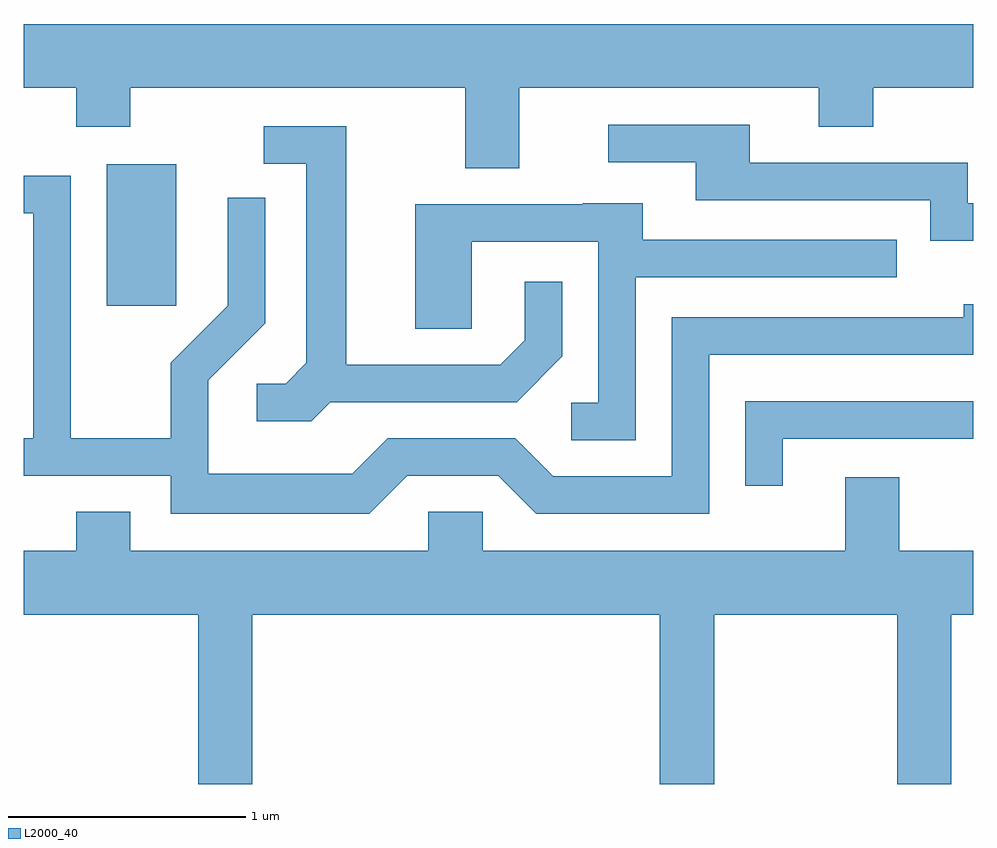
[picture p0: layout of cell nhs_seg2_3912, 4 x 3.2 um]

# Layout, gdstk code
import gdstk
lib = gdstk.Library(unit=1e-6, precision=1e-09)
def R(c, l, rs):  # rectangles x0, y0, x1, y1
    for r in rs: c.add(gdstk.rectangle(r[:2], r[2:], *l))
def P(c, l, *ps):  # polygons
    for p in ps: c.add(gdstk.Polygon(p, *l))
L2000_40 = (2000, 40)

nhs_seg2_3912 = lib.new_cell('nhs_seg2_3912')
R(nhs_seg2_3912, L2000_40, [(299.961,1071.816,300.254,1072.414)])
P(nhs_seg2_3912, L2000_40, [(301.699,1072.736),(302.961,1072.736),(302.961,1072.571),(303.189,1072.571),(303.189,1072.736),(303.611,1072.736),(303.611,1073.004),(299.611,1073.004),(299.611,1072.736),(299.831,1072.736),(299.831,1072.571),(300.059,1072.571),(300.059,1072.736),(301.471,1072.736),(301.471,1072.396),(301.699,1072.396)],
  [(303.611,1072.249),(303.589,1072.249),(303.589,1072.419),(302.669,1072.419),(302.669,1072.579),(302.073,1072.579),(302.073,1072.421),(302.441,1072.421),(302.441,1072.261),(303.431,1072.261),(303.431,1072.091),(303.611,1072.091)],
  [(300.902,1071.411),(301.687,1071.411),(301.879,1071.604),(301.879,1071.918),(301.721,1071.918),(301.721,1071.672),(301.619,1071.569),(300.969,1071.569),(300.969,1072.574),(300.623,1072.574),(300.623,1072.416),(300.801,1072.416),(300.801,1071.577),(300.714,1071.489),(300.593,1071.489),(300.593,1071.331),(300.822,1071.331)],
  [(301.227,1071.101),(301.609,1071.101),(301.769,1070.941),(302.499,1070.941),(302.499,1071.611),(303.611,1071.611),(303.611,1071.824),(303.571,1071.824),(303.571,1071.769),(302.341,1071.769),(302.341,1071.099),(301.842,1071.099),(301.682,1071.259),(301.144,1071.259),(300.994,1071.109),(300.389,1071.109),(300.389,1071.504),(300.629,1071.744),(300.629,1072.273),(300.471,1072.273),(300.471,1071.817),(300.231,1071.577),(300.231,1071.259),(299.809,1071.259),(299.809,1072.364),(299.611,1072.364),(299.611,1072.206),(299.651,1072.206),(299.651,1071.259),(299.611,1071.259),(299.611,1071.101),(300.231,1071.101),(300.231,1070.941),(301.067,1070.941)],
  [(302.189,1071.936),(303.288,1071.936),(303.288,1072.094),(302.219,1072.094),(302.219,1072.249),(301.965,1072.249),(301.965,1072.244),(301.261,1072.244),(301.261,1071.721),(301.499,1071.721),(301.499,1072.086),(302.031,1072.086),(302.031,1071.409),(301.918,1071.409),(301.918,1071.251),(302.189,1071.251)],
  [(302.809,1071.256),(303.611,1071.256),(303.611,1071.414),(302.651,1071.414),(302.651,1071.058),(302.809,1071.058)],
  [(300.574,1070.516),(302.291,1070.516),(302.291,1069.802),(302.519,1069.802),(302.519,1070.516),(303.291,1070.516),(303.291,1069.802),(303.519,1069.802),(303.519,1070.516),(303.611,1070.516),(303.611,1070.784),(303.299,1070.784),(303.299,1071.094),(303.071,1071.094),(303.071,1070.784),(301.544,1070.784),(301.544,1070.949),(301.316,1070.949),(301.316,1070.784),(300.059,1070.784),(300.059,1070.949),(299.831,1070.949),(299.831,1070.784),(299.611,1070.784),(299.611,1070.516),(300.346,1070.516),(300.346,1069.802),(300.574,1069.802)])

lib.write_gds('nhs_seg2_3912.gds')
